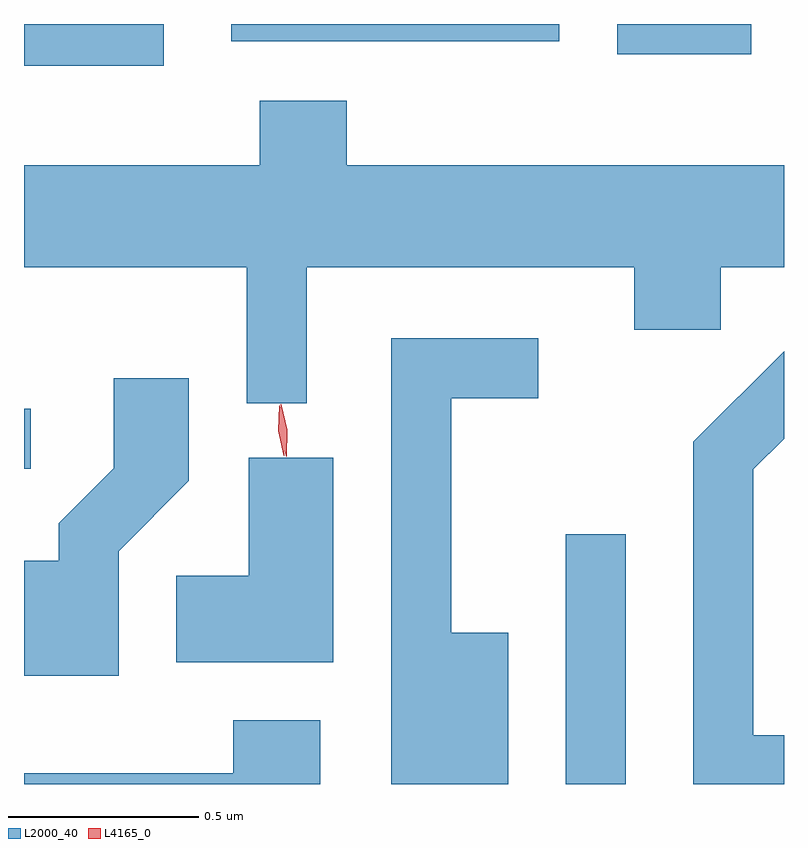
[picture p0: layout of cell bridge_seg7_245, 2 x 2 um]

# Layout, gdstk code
import gdstk
lib = gdstk.Library(unit=1e-6, precision=1e-09)
def R(c, l, rs):  # rectangles x0, y0, x1, y1
    for r in rs: c.add(gdstk.rectangle(r[:2], r[2:], *l))
def P(c, l, *ps):  # polygons
    for p in ps: c.add(gdstk.Polygon(p, *l))
L2000_40 = (2000, 40)
L4165_0 = (4165, 0)

bridge_seg7_245 = lib.new_cell('bridge_seg7_245')
R(bridge_seg7_245, L2000_40, [(1756.796,1719.616,1756.954,1720.273), (1755.37,1720.446,1755.388,1720.604), (1755.37,1721.506,1755.738,1721.616), (1756.931,1721.536,1757.284,1721.616), (1755.916,1721.571,1756.778,1721.616)])
P(bridge_seg7_245, L2000_40, [(1756.114,1720.976),(1756.976,1720.976),(1756.976,1720.811),(1757.204,1720.811),(1757.204,1720.976),(1757.37,1720.976),(1757.37,1721.244),(1756.219,1721.244),(1756.219,1721.414),(1755.991,1721.414),(1755.991,1721.244),(1755.37,1721.244),(1755.37,1720.976),(1755.956,1720.976),(1755.956,1720.618),(1756.114,1720.618)],
  [(1756.644,1720.014),(1756.494,1720.014),(1756.494,1720.631),(1756.723,1720.631),(1756.723,1720.789),(1756.336,1720.789),(1756.336,1719.616),(1756.644,1719.616)],
  [(1757.37,1719.744),(1757.289,1719.744),(1757.289,1720.444),(1757.37,1720.525),(1757.37,1720.755),(1757.131,1720.517),(1757.131,1719.616),(1757.37,1719.616)],
  [(1755.619,1720.229),(1755.804,1720.414),(1755.804,1720.684),(1755.606,1720.684),(1755.606,1720.447),(1755.461,1720.302),(1755.461,1720.204),(1755.37,1720.204),(1755.37,1719.901),(1755.619,1719.901)],
  [(1756.184,1720.474),(1755.961,1720.474),(1755.961,1720.164),(1755.771,1720.164),(1755.771,1719.936),(1756.184,1719.936)],
  [(1756.149,1719.784),(1755.921,1719.784),(1755.921,1719.644),(1755.37,1719.644),(1755.37,1719.616),(1756.149,1719.616)])
P(bridge_seg7_245, L4165_0, [(1756.06,1720.477),(1756.06,1720.478),(1756.043,1720.546),(1756.046,1720.616),(1756.046,1720.616),(1756.047,1720.616),(1756.063,1720.548),(1756.061,1720.478)],
  [(1756.054,1720.48),(1756.039,1720.545),(1756.042,1720.611),(1756.042,1720.612),(1756.043,1720.611),(1756.058,1720.546),(1756.055,1720.48),(1756.055,1720.48)])

lib.write_gds('bridge_seg7_245.gds')
